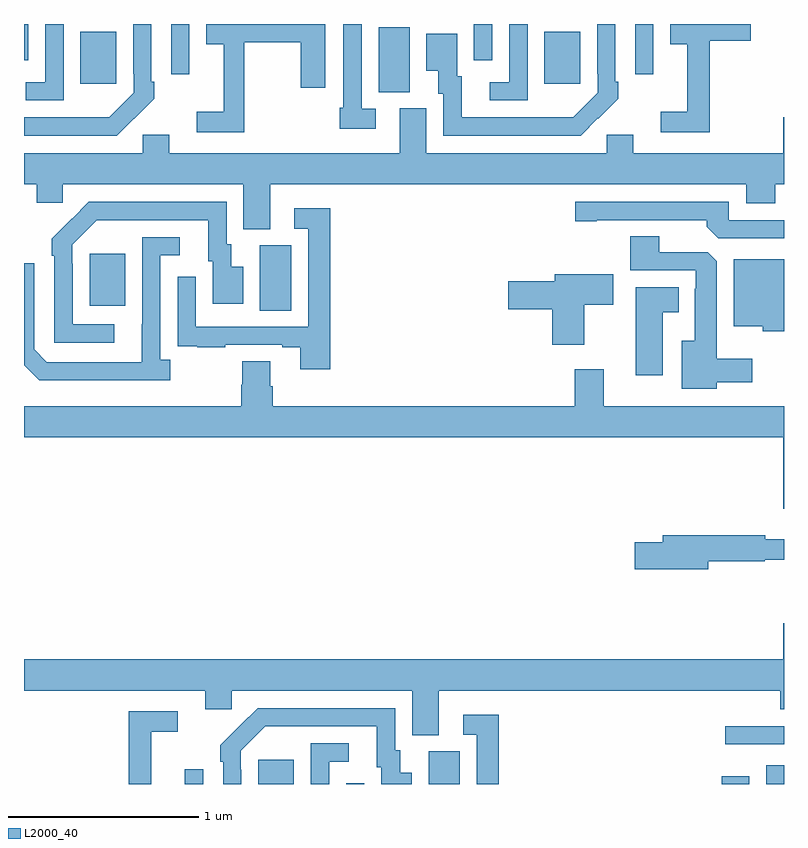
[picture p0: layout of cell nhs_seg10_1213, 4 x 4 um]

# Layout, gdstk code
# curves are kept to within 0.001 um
import gdstk
lib = gdstk.Library(unit=1e-6, precision=1e-09)
def R(c, l, rs):  # rectangles x0, y0, x1, y1
    for r in rs: c.add(gdstk.rectangle(r[:2], r[2:], *l))
def P(c, l, *ps):  # polygons
    for p in ps: c.add(gdstk.Polygon(p, *l))
L2000_40 = (2000, 40)

nhs_seg10_1213 = lib.new_cell('nhs_seg10_1213')
R(nhs_seg10_1213, L2000_40, [(173.847,1290.5,173.943,1290.577), (174.233,1290.5,174.421,1290.628), (174.696,1290.5,174.792,1290.505), (175.13,1290.5,175.294,1290.672), (176.672,1290.5,176.818,1290.541), (176.906,1290.5,177,1290.598), (176.691,1290.708,177,1290.804), (174.242,1292.992,174.406,1293.336), (173.345,1293.017,173.533,1293.292), (174.866,1294.141,175.03,1294.484), (173.297,1294.185,173.485,1294.459), (175.739,1294.185,175.927,1294.459), (173.775,1294.236,173.871,1294.5), (176.217,1294.236,176.313,1294.5), (173,1294.308,173.022,1294.5), (175.368,1294.308,175.464,1294.5)])
P(nhs_seg10_1213, L2000_40, [(174.85,1294.053),(174.777,1294.053),(174.777,1294.5),(174.681,1294.5),(174.681,1294.06),(174.661,1294.06),(174.661,1293.948),(174.85,1293.948)],
  [(173.208,1294.5),(173.112,1294.5),(173.112,1294.194),(173.01,1294.194),(173.01,1294.098),(173.208,1294.098)],
  [(176.609,1294.412),(176.824,1294.412),(176.824,1294.5),(176.402,1294.5),(176.402,1294.394),(176.492,1294.394),(176.492,1294.039),(176.352,1294.039),(176.352,1293.93),(176.609,1293.93)],
  [(175.65,1294.5),(175.554,1294.5),(175.554,1294.194),(175.452,1294.194),(175.452,1294.098),(175.65,1294.098)],
  [(176.021,1294.003),(176.022,1294.002),(176.127,1294.107),(176.127,1294.195),(176.112,1294.195),(176.112,1294.5),(176.016,1294.5),(176.016,1294.237),(176.019,1294.237),(176.019,1294.137),(175.891,1294.009),(175.303,1294.008),(175.303,1294.224),(175.279,1294.224),(175.279,1294.45),(175.118,1294.45),(175.118,1294.253),(175.181,1294.253),(175.181,1294.134),(175.206,1294.134),(175.206,1293.912),(175.93,1293.912)],
  [(173.579,1294.003),(173.58,1294.002),(173.685,1294.107),(173.685,1294.195),(173.67,1294.195),(173.67,1294.5),(173.574,1294.5),(173.574,1294.237),(173.577,1294.237),(173.577,1294.137),(173.449,1294.009),(173,1294.008),(173,1293.912),(173.488,1293.912)],
  [(174.16,1294.405),(174.457,1294.405),(174.457,1294.164),(174.586,1294.164),(174.586,1294.448),(174.585,1294.448),(174.585,1294.5),(173.96,1294.5),(173.96,1294.394),(174.05,1294.394),(174.05,1294.039),(173.91,1294.039),(173.91,1293.93),(174.16,1293.93)],
  [(174.295,1293.656),(176.801,1293.656),(176.801,1293.557),(176.954,1293.557),(176.954,1293.656),(177,1293.656),(177,1294.009),(176.996,1294.009),(176.996,1293.82),(176.206,1293.82),(176.206,1293.918),(176.067,1293.918),(176.067,1293.82),(175.117,1293.82),(175.117,1294.056),(174.977,1294.056),(174.977,1293.82),(173.764,1293.82),(173.764,1293.918),(173.625,1293.918),(173.625,1293.82),(173,1293.82),(173,1293.656),(173.066,1293.656),(173.066,1293.558),(173.205,1293.558),(173.205,1293.656),(174.155,1293.656),(174.155,1293.421),(174.295,1293.421)],
  [(177,1293.468),(176.709,1293.468),(176.709,1293.564),(175.902,1293.564),(175.902,1293.463),(176.014,1293.463),(176.014,1293.468),(176.594,1293.468),(176.594,1293.434),(176.655,1293.372),(177,1293.372)],
  [(173.476,1292.919),(173.256,1292.919),(173.256,1293.239),(173.253,1293.239),(173.253,1293.339),(173.382,1293.468),(173.969,1293.468),(173.969,1293.252),(173.993,1293.252),(173.993,1293.027),(174.154,1293.027),(174.154,1293.223),(174.091,1293.223),(174.091,1293.342),(174.066,1293.342),(174.066,1293.564),(173.342,1293.564),(173.145,1293.369),(173.145,1293.281),(173.16,1293.281),(173.16,1292.823),(173.476,1292.823)],
  [(174.611,1293.529),(174.423,1293.529),(174.423,1293.423),(174.495,1293.423),(174.495,1292.907),(173.904,1292.907),(173.904,1293.169),(173.808,1293.169),(173.808,1292.914),(173.809,1292.914),(173.809,1292.805),(173.911,1292.805),(173.911,1292.799),(174.059,1292.799),(174.059,1292.811),(174.359,1292.811),(174.359,1292.799),(174.455,1292.799),(174.455,1292.682),(174.611,1292.682)],
  [(176.647,1292.615),(176.833,1292.615),(176.833,1292.737),(176.647,1292.737),(176.647,1293.251),(176.598,1293.3),(176.344,1293.3),(176.344,1293.383),(176.192,1293.383),(176.192,1293.204),(176.535,1293.204),(176.535,1293.107),(176.531,1293.107),(176.531,1292.833),(176.462,1292.833),(176.462,1292.579),(176.647,1292.579)],
  [(173.77,1292.734),(173.718,1292.734),(173.718,1293.282),(173.821,1293.282),(173.821,1293.378),(173.622,1293.378),(173.621,1292.721),(173.121,1292.721),(173.055,1292.787),(173.055,1293.241),(173,1293.241),(173,1292.704),(173.08,1292.624),(173.77,1292.624)],
  [(177,1293.262),(176.735,1293.262),(176.735,1292.909),(176.889,1292.909),(176.889,1292.882),(177,1292.882)],
  [(175.948,1293.022),(176.101,1293.022),(176.101,1293.184),(175.793,1293.184),(175.793,1293.146),(175.548,1293.146),(175.548,1292.999),(175.781,1292.999),(175.781,1292.811),(175.948,1292.811)],
  [(176.362,1292.984),(176.446,1292.984),(176.446,1293.115),(176.219,1293.115),(176.219,1292.652),(176.362,1292.652)],
  [(177,1292.488),(176.05,1292.488),(176.05,1292.683),(175.898,1292.683),(175.898,1292.488),(174.308,1292.488),(174.308,1292.594),(174.295,1292.594),(174.295,1292.726),(174.148,1292.726),(174.148,1292.601),(174.143,1292.601),(174.143,1292.488),(173,1292.488),(173,1292.324),(176.996,1292.324),(176.996,1291.95),(177,1291.95)],
  [(176.602,1291.672),(176.898,1291.672),(176.898,1291.68),(177,1291.68),(177,1291.789),(176.9,1291.789),(176.9,1291.808),(176.363,1291.808),(176.363,1291.772),(176.214,1291.772),(176.214,1291.63),(176.602,1291.63)],
  [(175.183,1290.992),(176.981,1290.992),(176.981,1290.893),(177,1290.893),(177,1291.345),(176.996,1291.345),(176.996,1291.156),(173,1291.156),(173,1290.992),(173.954,1290.992),(173.954,1290.894),(174.093,1290.894),(174.093,1290.992),(175.043,1290.992),(175.043,1290.757),(175.183,1290.757)],
  [(174.144,1290.575),(174.141,1290.575),(174.141,1290.675),(174.27,1290.804),(174.857,1290.804),(174.857,1290.588),(174.881,1290.588),(174.881,1290.5),(175.042,1290.5),(175.042,1290.559),(174.979,1290.559),(174.979,1290.678),(174.954,1290.678),(174.954,1290.9),(174.23,1290.9),(174.033,1290.705),(174.033,1290.617),(174.048,1290.617),(174.048,1290.5),(174.144,1290.5)],
  [(173.669,1290.774),(173.809,1290.774),(173.809,1290.882),(173.551,1290.882),(173.551,1290.5),(173.669,1290.5)],
  [(175.499,1290.865),(175.311,1290.865),(175.311,1290.759),(175.383,1290.759),(175.383,1290.5),(175.499,1290.5)],
  [(174.606,1290.618),(174.709,1290.618),(174.709,1290.714),(174.51,1290.714),(174.51,1290.5),(174.606,1290.5)])

lib.write_gds('nhs_seg10_1213.gds')
